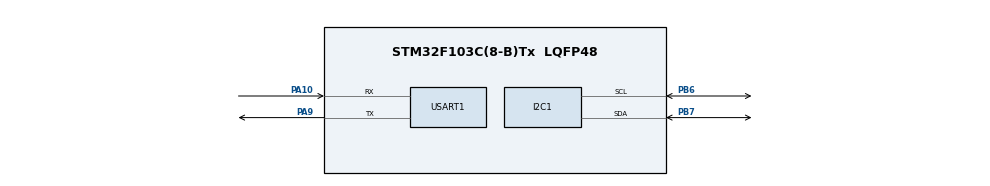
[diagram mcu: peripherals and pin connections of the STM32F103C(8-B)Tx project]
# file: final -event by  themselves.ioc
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Mcu.Family=STM32F1
Mcu.Name=STM32F103C(8-B)Tx
Mcu.Package=LQFP48
NVIC.PriorityGroup=NVIC_PRIORITYGROUP_4
NVIC.TIM2_IRQn=true\:0\:0\:false\:false\:true\:true\:true\:true
PA10.Mode=Asynchronous
PA10.Signal=USART1_RX
PA13.Mode=Serial_Wire
PA13.Signal=SYS_JTMS-SWDIO
PA14.Mode=Serial_Wire
PA14.Signal=SYS_JTCK-SWCLK
PA9.Mode=Asynchronous
PA9.Signal=USART1_TX
PB6.Mode=I2C
PB6.Signal=I2C1_SCL
PB7.Mode=I2C
PB7.Signal=I2C1_SDA
ProjectManager.HeapSize=0x200
ProjectManager.StackSize=0x400
ProjectManager.TargetToolchain=STM32CubeIDE
RCC.APB1Freq_Value=8000000
RCC.APB2Freq_Value=8000000
TIM2.Prescaler=8399
USART1.VirtualMode=VM_ASYNC
VP_TIM2_VS_ClockSourceINT.Mode=Internal
board=custom

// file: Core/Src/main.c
/* USER CODE BEGIN Header */
/**
  ******************************************************************************
  * @file           : main.c
  * @brief          : Main program body
  ******************************************************************************
  * @attention
  *
  * Copyright (c) 2025 STMicroelectronics.
  * All rights reserved.
  *
  * This software is licensed under terms that can be found in the LICENSE file
  * in the root directory of this software component.
  * If no LICENSE file comes with this software, it is provided AS-IS.
  *
  ******************************************************************************
  */
/* USER CODE END Header */
#include "main.h"

/* USER CODE BEGIN Includes */
#include "DHT.h"
#include "lcd_i2c.h"
#include "stdio.h"
/* USER CODE END Includes */

I2C_HandleTypeDef hi2c1;

TIM_HandleTypeDef htim2;

UART_HandleTypeDef huart1;

/* USER CODE BEGIN PV */
DHT_DataTypedef dht;
char message[300];
char temp[50];
char humid[50];
/* USER CODE END PV */

void SystemClock_Config(void);
static void MX_GPIO_Init(void);
static void MX_TIM2_Init(void);
static void MX_I2C1_Init(void);
static void MX_USART1_UART_Init(void);
/* USER CODE BEGIN PFP */
volatile uint8_t event_queue[10]; // Hàng đợi sự kiện
volatile uint8_t event_queue_head = 0; // Vị trí đầu hàng đợi
volatile uint8_t event_queue_tail = 0; // Vị trí cuối hàng đợi
volatile uint8_t timer_initialized = 0; // Biến cờ để kiểm tra Timer đã khởi tạo chưa
/* USER CODE END PFP */

int main(void)
{

  /* MCU Configuration--------------------------------------------------------*/

  /* Reset of all peripherals, Initializes the Flash interface and the Systick. */
  HAL_Init();

  /* Configure the system clock */
  SystemClock_Config();

  /* Initialize all configured peripherals */
  MX_GPIO_Init();
  MX_TIM2_Init();
  MX_I2C1_Init();
  MX_USART1_UART_Init();
  /* USER CODE BEGIN 2 */
  lcd_init();

  //HAL_TIM_Base_Start_IT(&htim1); // Bắt đầu timer với ngắt
  HAL_TIM_Base_Start_IT(&htim2);
  //HAL_TIM_Base_Start_IT(&htim3);
  /* USER CODE END 2 */

  /* Infinite loop */
  while (1)
  {
	  if (event_queue_head == event_queue_tail) {
	  		             // Hàng đợi rỗng, đưa CPU vào chế độ năng lượng thấp
	  		             __WFI(); // Chờ ngắt để tiết kiệm năng lượng
	  		         } else {
	  		             // Hàng đợi không rỗng, xử lý sự kiện
	  		             process_events();

	  		     }
  }
}

void SystemClock_Config(void)
{
  RCC_OscInitTypeDef RCC_OscInitStruct = {0};
  RCC_ClkInitTypeDef RCC_ClkInitStruct = {0};

  /** Initializes the RCC Oscillators according to the specified parameters
  * in the RCC_OscInitTypeDef structure.
  */
  RCC_OscInitStruct.OscillatorType = RCC_OSCILLATORTYPE_HSI;
  RCC_OscInitStruct.HSIState = RCC_HSI_ON;
  RCC_OscInitStruct.HSICalibrationValue = RCC_HSICALIBRATION_DEFAULT;
  RCC_OscInitStruct.PLL.PLLState = RCC_PLL_NONE;
  if (HAL_RCC_OscConfig(&RCC_OscInitStruct) != HAL_OK)
  {
    Error_Handler();
  }

  /** Initializes the CPU, AHB and APB buses clocks
  */
  RCC_ClkInitStruct.ClockType = RCC_CLOCKTYPE_HCLK|RCC_CLOCKTYPE_SYSCLK
                              |RCC_CLOCKTYPE_PCLK1|RCC_CLOCKTYPE_PCLK2;
  RCC_ClkInitStruct.SYSCLKSource = RCC_SYSCLKSOURCE_HSI;
  RCC_ClkInitStruct.AHBCLKDivider = RCC_SYSCLK_DIV1;
  RCC_ClkInitStruct.APB1CLKDivider = RCC_HCLK_DIV1;
  RCC_ClkInitStruct.APB2CLKDivider = RCC_HCLK_DIV1;

  if (HAL_RCC_ClockConfig(&RCC_ClkInitStruct, FLASH_LATENCY_0) != HAL_OK)
  {
    Error_Handler();
  }
}

static void MX_I2C1_Init(void)
{

  hi2c1.Instance = I2C1;
  hi2c1.Init.ClockSpeed = 100000;
  hi2c1.Init.DutyCycle = I2C_DUTYCYCLE_2;
  hi2c1.Init.OwnAddress1 = 0;
  hi2c1.Init.AddressingMode = I2C_ADDRESSINGMODE_7BIT;
  hi2c1.Init.DualAddressMode = I2C_DUALADDRESS_DISABLE;
  hi2c1.Init.OwnAddress2 = 0;
  hi2c1.Init.GeneralCallMode = I2C_GENERALCALL_DISABLE;
  hi2c1.Init.NoStretchMode = I2C_NOSTRETCH_DISABLE;
  if (HAL_I2C_Init(&hi2c1) != HAL_OK)
  {
    Error_Handler();
  }

}

static void MX_TIM2_Init(void)
{

  TIM_ClockConfigTypeDef sClockSourceConfig = {0};
  TIM_MasterConfigTypeDef sMasterConfig = {0};

  htim2.Instance = TIM2;
  htim2.Init.Prescaler = 8399;
  htim2.Init.CounterMode = TIM_COUNTERMODE_UP;
  htim2.Init.Period = 65535;
  htim2.Init.ClockDivision = TIM_CLOCKDIVISION_DIV1;
  htim2.Init.AutoReloadPreload = TIM_AUTORELOAD_PRELOAD_DISABLE;
  if (HAL_TIM_Base_Init(&htim2) != HAL_OK)
  {
    Error_Handler();
  }
  sClockSourceConfig.ClockSource = TIM_CLOCKSOURCE_INTERNAL;
  if (HAL_TIM_ConfigClockSource(&htim2, &sClockSourceConfig) != HAL_OK)
  {
    Error_Handler();
  }
  sMasterConfig.MasterOutputTrigger = TIM_TRGO_RESET;
  sMasterConfig.MasterSlaveMode = TIM_MASTERSLAVEMODE_DISABLE;
  if (HAL_TIMEx_MasterConfigSynchronization(&htim2, &sMasterConfig) != HAL_OK)
  {
    Error_Handler();
  }

}

static void MX_USART1_UART_Init(void)
{

  huart1.Instance = USART1;
  huart1.Init.BaudRate = 115200;
  huart1.Init.WordLength = UART_WORDLENGTH_8B;
  huart1.Init.StopBits = UART_STOPBITS_1;
  huart1.Init.Parity = UART_PARITY_NONE;
  huart1.Init.Mode = UART_MODE_TX_RX;
  huart1.Init.HwFlowCtl = UART_HWCONTROL_NONE;
  huart1.Init.OverSampling = UART_OVERSAMPLING_16;
  if (HAL_UART_Init(&huart1) != HAL_OK)
  {
    Error_Handler();
  }

}

static void MX_GPIO_Init(void)
{

  /* GPIO Ports Clock Enable */
  __HAL_RCC_GPIOA_CLK_ENABLE();
  __HAL_RCC_GPIOB_CLK_ENABLE();

}

/* USER CODE BEGIN 4 */
void task1(){
	 //HAL_GPIO_TogglePin(GPIOA, GPIO_PIN_5);
	DHT_GetData(&dht);
	add_event(2);
}

void task2(){
	 //HAL_GPIO_TogglePin(GPIOA, GPIO_PIN_6);
	uint8_t length = snprintf(message, sizeof(message), "Nhiet do: %f va Do am: %f", dht.Temperature, dht.Humidity);
	HAL_UART_Transmit(&huart1, (uint8_t*)message, length, HAL_MAX_DELAY);
	add_event(3);
}

void task3(){
	//HAL_GPIO_TogglePin(GPIOA, GPIO_PIN_7);
	lcd_put_cur(0,0);
	snprintf(temp,sizeof(temp),"Nhiet do: %f",dht.Temperature);
	snprintf(humid,sizeof(humid),"Do am : %f",dht.Humidity);
	lcd_send_string(temp);
	lcd_put_cur(1,0);
	lcd_send_string(humid);
	add_event(1);
	HAL_Delay(1000);
}

void add_event(uint8_t event) {
    event_queue[event_queue_tail] = event;
    event_queue_tail = (event_queue_tail + 1) % 10;
}

uint8_t get_event(void) {
    if (event_queue_head == event_queue_tail) {
        return 0xFF; // No event
    }
    uint8_t event = event_queue[event_queue_head];
    event_queue_head = (event_queue_head + 1) % 10;
    return event;
}

void process_events(void) {
    uint8_t event;
    do {
        event = get_event();
        if (event != 0xFF) {
            switch (event) {
                case 1:
                    task1();
                    break;
                case 2:
                    task2();
                    break;
                case 3:
                    task3();
                    break;
                default:
                    break;
            }
        }
    } while (event != 0xFF); // Thoát khi không có sự kiện
}
void HAL_TIM_PeriodElapsedCallback(TIM_HandleTypeDef *htim) {
    if (htim->Instance == TIM2) {
        if (!timer_initialized) {
            // Chỉ thêm sự kiện vào hàng đợi trong lần đầu tiên
            static uint8_t event_counter = 1;
            add_event(event_counter);
            event_counter = (event_counter % 3) + 1;

            // Dừng Timer sau khi thêm sự kiện
            HAL_TIM_Base_Stop_IT(&htim2);
            timer_initialized = 1; // Đánh dấu Timer đã được khởi tạo
        }
    }
}
/* USER CODE END 4 */

void Error_Handler(void)
{
  __disable_irq();
  while (1)
  {
  }
}
